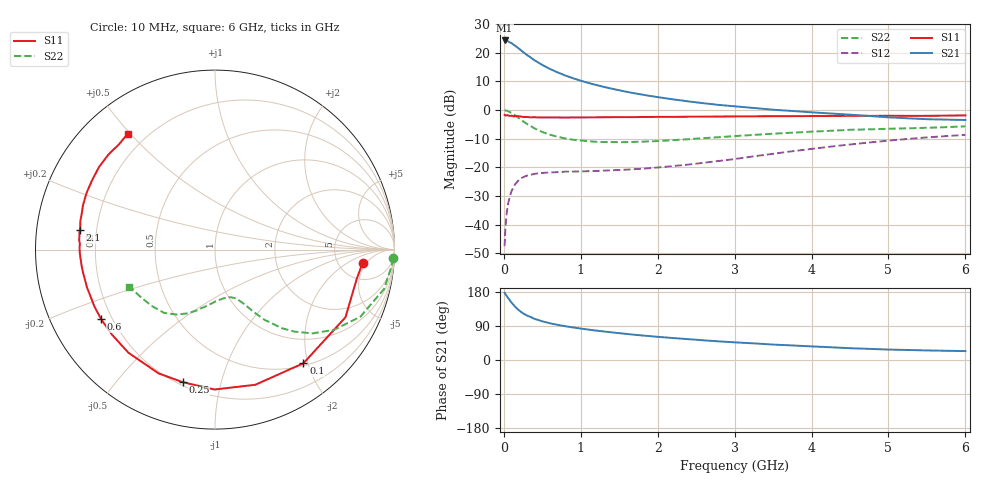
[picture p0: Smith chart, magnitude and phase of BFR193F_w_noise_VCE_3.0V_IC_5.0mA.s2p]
! Infineon Technologies  Discrete & RF Semiconductors
! BFR193F
! VCE =  3.0 V,  IC =  5.0 mA
! Common Emitter S-Parameters:  Jan 2017
# GHz  S  MA  R  50
!  f  S11  S21  S12  S22
! GHz  MAG  ANG  MAG  ANG  MAG  ANG  MAG  ANG
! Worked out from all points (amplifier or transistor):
!   77 points, 10 MHz to 6 GHz, reference 50 ohm
!   highest |S21| = 24.3 dB at 10 MHz (marker M1)
!   |S21| within 3 dB of that: start of sweep to 202.9 MHz
!   unconditionally stable (mu >= 1): 1.82 GHz to 3.023 GHz
!   at 130 MHz: K = 0.10, MSG = 24.8 dB, |S12| = -26.7 dB
!   at 2.2 GHz: K = 1.07, MAG = 10.0 dB, |S12| = -19.5 dB
!   at 6 GHz: K = 0.81, MSG = 2.6 dB, |S12| = -8.6 dB
!   lowest NFmin = 0.81 dB at 450 MHz
!   S11 on the Smith chart (normalised r, x): 10 MHz: 8.55, -4.02; 100 MHz: 0.54, -1.92; 250 MHz: 0.22, -0.76; 600 MHz: 0.16, -0.28; 2.1 GHz: 0.14, +0.07; 6 GHz: 0.13, +0.49
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0.01  0.8255 -5.2  16.46 177.6  0.0042 87.7  0.9926 -2.8
0.02  0.8063 -11.7  16.29 173.9  0.0084 84.8  0.9886 -5.3
0.05  0.8189 -27.4  16.02 165.1  0.0212 77.0  0.967 -13.1
0.1  0.8024 -52.1  14.83 151.2  0.0385 65.8  0.8927 -24.7
0.15  0.7859 -73.4  13.22 139.8  0.0515 55.4  0.8018 -33.8
0.2  0.7795 -90.2  11.74 130.5  0.0611 48.3  0.7163 -40.7
0.25  0.7602 -103.7  10.32 123.1  0.0674 43.3  0.6364 -45.9
0.3  0.7579 -114.5  9.192 117.4  0.0715 39.5  0.5737 -49.7
0.4  0.7502 -130.0  7.402 108.4  0.0771 33.7  0.4788 -54.8
0.5  0.7444 -140.6  6.145 102.0  0.0799 31.0  0.4147 -57.9
0.6  0.7434 -148.5  5.233 96.9  0.0815 29.9  0.3716 -60.1
0.7  0.743 -154.7  4.552 92.7  0.0824 29.6  0.3419 -62.0
0.8  0.7408 -159.3  4.012 89.1  0.0841 29.3  0.3192 -64.0
0.9  0.7439 -163.6  3.602 85.9  0.0844 30.2  0.3036 -65.7
1.1  0.7463 -170.1  2.98 80.2  0.0858 32.4  0.2862 -69.5
1.5  0.7537 -178.9  2.219 70.8  0.09 39.1  0.2752 -78.1
2.1  0.761 171.8  1.612 59.6  0.1023 51.4  0.293 -91.0
2.6  0.768 165.9  1.316 51.9  0.1203 60.2  0.3238 -100.1
3.1  0.7768 160.4  1.134 45.5  0.146 66.4  0.3581 -107.7
4.1  0.7871 149.2  0.898 35.0  0.2179 70.8  0.4259 -122.3
5.1  0.7946 137.1  0.736 27.1  0.3011 67.1  0.4754 -140.4
6  0.8085 126.9  0.672 23.5  0.3695 61.0  0.52 -156.6
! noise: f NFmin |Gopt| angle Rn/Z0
0.45  0.81  0.31  100  0.1
0.9  1.01  0.45  136  0.09
1.9  1.9  0.63  -179  0.06
2.4  2.34  0.67  -168  0.11
